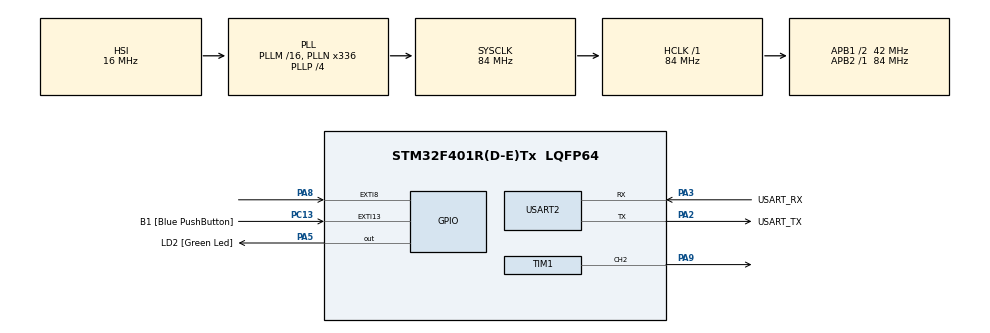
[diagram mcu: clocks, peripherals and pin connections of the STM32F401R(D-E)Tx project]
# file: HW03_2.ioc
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Mcu.Family=STM32F4
Mcu.Name=STM32F401R(D-E)Tx
Mcu.Package=LQFP64
NVIC.EXTI9_5_IRQn=true\:0\:0\:false\:false\:true\:true\:true\:true
NVIC.PriorityGroup=NVIC_PRIORITYGROUP_4
NVIC.TIM2_IRQn=true\:1\:0\:true\:false\:true\:true\:true\:true
PA13.GPIO_Label=TMS
PA13.Mode=Trace_Asynchronous_SW
PA13.Signal=SYS_JTMS-SWDIO
PA14.GPIO_Label=TCK
PA14.Mode=Trace_Asynchronous_SW
PA14.Signal=SYS_JTCK-SWCLK
PA2.GPIO_Label=USART_TX
PA2.GPIO_Mode=GPIO_MODE_AF_PP
PA2.GPIO_PuPd=GPIO_NOPULL
PA2.GPIO_Speed=GPIO_SPEED_FREQ_LOW
PA2.Mode=Asynchronous
PA2.Signal=USART2_TX
PA3.GPIO_Label=USART_RX
PA3.GPIO_Mode=GPIO_MODE_AF_PP
PA3.GPIO_PuPd=GPIO_NOPULL
PA3.GPIO_Speed=GPIO_SPEED_FREQ_LOW
PA3.Mode=Asynchronous
PA3.Signal=USART2_RX
PA5.GPIO_Label=LD2 [Green Led]
PA5.GPIO_Mode=GPIO_MODE_OUTPUT_PP
PA5.GPIO_PuPd=GPIO_NOPULL
PA5.GPIO_Speed=GPIO_SPEED_FREQ_LOW
PA5.Signal=GPIO_Output
PA8.Signal=GPXTI8
PA9.Signal=S_TIM1_CH2
PB3.GPIO_Label=SWO
PB3.Mode=Trace_Asynchronous_SW
PB3.Signal=SYS_JTDO-SWO
PC13-ANTI_TAMP.GPIO_Label=B1 [Blue PushButton]
PC13-ANTI_TAMP.GPIO_ModeDefaultEXTI=GPIO_MODE_IT_FALLING
PC13-ANTI_TAMP.GPIO_PuPd=GPIO_NOPULL
PC13-ANTI_TAMP.Signal=GPXTI13
PC14-OSC32_IN.Mode=LSE-External-Oscillator
PC14-OSC32_IN.Signal=RCC_OSC32_IN
PC15-OSC32_OUT.Mode=LSE-External-Oscillator
PC15-OSC32_OUT.Signal=RCC_OSC32_OUT
PH0\ -\ OSC_IN.Mode=HSE-External-Clock-Source
PH0\ -\ OSC_IN.Signal=RCC_OSC_IN
PH1\ -\ OSC_OUT.Mode=HSE-External-Clock-Source
PH1\ -\ OSC_OUT.Signal=RCC_OSC_OUT
ProjectManager.HeapSize=0x200
ProjectManager.StackSize=0x400
ProjectManager.TargetToolchain=STM32CubeIDE
RCC.48MHZClocksFreq_Value=48000000
RCC.AHBFreq_Value=84000000
RCC.APB1CLKDivider=RCC_HCLK_DIV2
RCC.APB1Freq_Value=42000000
RCC.APB1TimFreq_Value=84000000
RCC.APB2Freq_Value=84000000
RCC.APB2TimFreq_Value=84000000
RCC.CortexFreq_Value=84000000
RCC.HCLKFreq_Value=84000000
RCC.HSE_VALUE=8000000
RCC.HSI_VALUE=16000000
RCC.PLLN=336
RCC.PLLP=RCC_PLLP_DIV4
RCC.PLLQ=7
RCC.SYSCLKFreq_VALUE=84000000
RCC.SYSCLKSource=RCC_SYSCLKSOURCE_PLLCLK
RCC.VCOOutputFreq_Value=336000000
SH.S_TIM1_CH2.0=TIM1_CH2,PWM Generation2 CH2
TIM1.Channel-PWM\ Generation2\ CH2=TIM_CHANNEL_2
TIM1.Period=1909
TIM1.Prescaler=99
TIM2.Period=209999
TIM2.Prescaler=99
USART2.VirtualMode=VM_ASYNC
VP_TIM1_VS_ClockSourceINT.Mode=Internal
VP_TIM2_VS_ClockSourceINT.Mode=Internal
board=NUCLEO-F401RE

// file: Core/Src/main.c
/* USER CODE BEGIN Header */
/**
  ******************************************************************************
  * @file           : main.c
  * @brief          : Main program body
  ******************************************************************************
  * @attention
  *
  * Copyright (c) 2026 STMicroelectronics.
  * All rights reserved.
  *
  * This software is licensed under terms that can be found in the LICENSE file
  * in the root directory of this software component.
  * If no LICENSE file comes with this software, it is provided AS-IS.
  *
  ******************************************************************************
  */
/* USER CODE END Header */
#include "main.h"

/* USER CODE BEGIN PTD */
// Definiamo una struttura "Note"
typedef struct {
    int Period;
    int Duration;
} Note;
/* USER CODE END PTD */

/* USER CODE BEGIN PD */
#define PeriodFA4 2405   // F4 = 349.23 Hz
#define PeriodLA4 1909   // A4 = 440.00 Hz
#define PeriodSI4 1701   // B4 = 493.88 Hz
#define PeriodDO5 1605   // C5 = 523.25 Hz
#define PeriodRE5 1430   // D5 = 587.33 Hz
#define PeriodMI5 1274   // E5 = 659.25 Hz

#define PORT_MCO GPIOA
#define PIN_MCO GPIO_PIN_8

#define DEBOUNCE_MS 500

/* USER CODE END PD */

TIM_HandleTypeDef htim1;
TIM_HandleTypeDef htim2;

UART_HandleTypeDef huart2;

/* USER CODE BEGIN PV */
int i=0;
int ticks=0;
uint32_t duration_note=5; // valore a caso
uint32_t last_end_tick = 0;
volatile uint8_t playing = 0; // flag

Note Song[] = {
		{PeriodMI5, 4},
		{PeriodLA4, 1},
		{PeriodSI4, 1},
		{PeriodDO5, 1},
		{PeriodRE5, 1},
		{PeriodMI5, 3},
		{PeriodDO5, 1},
		{PeriodMI5, 3},
		{PeriodDO5, 1},
		{PeriodMI5, 3},
		{PeriodLA4, 1},
		{PeriodDO5, 1},
		{PeriodLA4, 1},
		{PeriodFA4, 1},
		{PeriodDO5, 1},
		{PeriodLA4, 4}
};

int song_duration=sizeof(Song) / sizeof(Song[0]);

// DICHIARAZIONE GLOBALE PER LA CONFIGURAZIONE PWM (CRITICO!)
TIM_OC_InitTypeDef sConfigOC = {0};
/* USER CODE END PV */

void SystemClock_Config(void);
static void MX_GPIO_Init(void);
static void MX_USART2_UART_Init(void);
static void MX_TIM1_Init(void);
static void MX_TIM2_Init(void);
/* USER CODE BEGIN PFP */
void play_note(uint32_t Period, uint32_t Duration);
/* USER CODE END PFP */

/* USER CODE BEGIN 0 */
void HAL_GPIO_EXTI_Callback(uint16_t GPIO_Pin)
{
    if (GPIO_Pin == PIN_MCO && !playing && (HAL_GetTick() - last_end_tick > DEBOUNCE_MS))
    {
        HAL_GPIO_TogglePin(GPIOA, GPIO_PIN_5);
        playing = 1;
        i = 0;
        play_note(Song[i].Period, Song[i].Duration);
        HAL_TIM_Base_Start_IT(&htim2);
    }
}

void HAL_TIM_PeriodElapsedCallback(TIM_HandleTypeDef *htim)
{
	if(htim->Instance == TIM2){
		ticks+=1;
		if(ticks==duration_note){
			i+=1;
			if(i==song_duration){
				HAL_TIM_PWM_Stop(&htim1, TIM_CHANNEL_2);
				HAL_TIM_Base_Stop_IT(&htim2);
				playing = 0;
				last_end_tick = HAL_GetTick();
			}else{
				play_note(Song[i].Period, Song[i].Duration);
			}
		}
	}
}

void play_note(uint32_t Period, uint32_t Duration){
    duration_note=Duration;
    ticks=0;

	// Aggiorna il Periodo (frequenza) nel registro del Timer
    // L'unica variabile da ri-inizializzare è quella di base (più veloce di HAL_TIM_Base_Init)
    // Usiamo una macro veloce che accede direttamente al registro
    __HAL_TIM_SET_AUTORELOAD(&htim1, Period - 1);

    // Aggiorna il Pulse (Duty Cycle) nella struct sConfigOC
    sConfigOC.OCMode = TIM_OCMODE_PWM1; // Modalità PWM
    sConfigOC.Pulse = Period / 2;       // Duty cycle al 50%
    sConfigOC.OCPolarity = TIM_OCPOLARITY_HIGH;
    sConfigOC.OCFastMode = TIM_OCFAST_DISABLE;

    // Applica la nuova configurazione del canale
    if (HAL_TIM_PWM_ConfigChannel(&htim1, &sConfigOC, TIM_CHANNEL_2) != HAL_OK)
    {
        Error_Handler();
    }

    // Fai suonare nota
	HAL_TIM_PWM_Start(&htim1, TIM_CHANNEL_2);
}

/* USER CODE END 0 */

int main(void)
{

  /* MCU Configuration--------------------------------------------------------*/

  /* Reset of all peripherals, Initializes the Flash interface and the Systick. */
  HAL_Init();

  /* Configure the system clock */
  SystemClock_Config();

  /* Initialize all configured peripherals */
  MX_GPIO_Init();
  MX_USART2_UART_Init();
  MX_TIM1_Init();
  MX_TIM2_Init();

  /* Infinite loop */
  while (1)
  {

  }
}

void SystemClock_Config(void)
{
  RCC_OscInitTypeDef RCC_OscInitStruct = {0};
  RCC_ClkInitTypeDef RCC_ClkInitStruct = {0};

  /** Configure the main internal regulator output voltage
  */
  __HAL_RCC_PWR_CLK_ENABLE();
  __HAL_PWR_VOLTAGESCALING_CONFIG(PWR_REGULATOR_VOLTAGE_SCALE2);

  /** Initializes the RCC Oscillators according to the specified parameters
  * in the RCC_OscInitTypeDef structure.
  */
  RCC_OscInitStruct.OscillatorType = RCC_OSCILLATORTYPE_HSI;
  RCC_OscInitStruct.HSIState = RCC_HSI_ON;
  RCC_OscInitStruct.HSICalibrationValue = RCC_HSICALIBRATION_DEFAULT;
  RCC_OscInitStruct.PLL.PLLState = RCC_PLL_ON;
  RCC_OscInitStruct.PLL.PLLSource = RCC_PLLSOURCE_HSI;
  RCC_OscInitStruct.PLL.PLLM = 16;
  RCC_OscInitStruct.PLL.PLLN = 336;
  RCC_OscInitStruct.PLL.PLLP = RCC_PLLP_DIV4;
  RCC_OscInitStruct.PLL.PLLQ = 7;
  if (HAL_RCC_OscConfig(&RCC_OscInitStruct) != HAL_OK)
  {
    Error_Handler();
  }

  /** Initializes the CPU, AHB and APB buses clocks
  */
  RCC_ClkInitStruct.ClockType = RCC_CLOCKTYPE_HCLK|RCC_CLOCKTYPE_SYSCLK
                              |RCC_CLOCKTYPE_PCLK1|RCC_CLOCKTYPE_PCLK2;
  RCC_ClkInitStruct.SYSCLKSource = RCC_SYSCLKSOURCE_PLLCLK;
  RCC_ClkInitStruct.AHBCLKDivider = RCC_SYSCLK_DIV1;
  RCC_ClkInitStruct.APB1CLKDivider = RCC_HCLK_DIV2;
  RCC_ClkInitStruct.APB2CLKDivider = RCC_HCLK_DIV1;

  if (HAL_RCC_ClockConfig(&RCC_ClkInitStruct, FLASH_LATENCY_2) != HAL_OK)
  {
    Error_Handler();
  }
}

static void MX_TIM1_Init(void)
{

  TIM_ClockConfigTypeDef sClockSourceConfig = {0};
  TIM_MasterConfigTypeDef sMasterConfig = {0};
  TIM_OC_InitTypeDef sConfigOC = {0};
  TIM_BreakDeadTimeConfigTypeDef sBreakDeadTimeConfig = {0};

  htim1.Instance = TIM1;
  htim1.Init.Prescaler = 99;
  htim1.Init.CounterMode = TIM_COUNTERMODE_UP;
  htim1.Init.Period = 1909;
  htim1.Init.ClockDivision = TIM_CLOCKDIVISION_DIV1;
  htim1.Init.RepetitionCounter = 0;
  htim1.Init.AutoReloadPreload = TIM_AUTORELOAD_PRELOAD_DISABLE;
  if (HAL_TIM_Base_Init(&htim1) != HAL_OK)
  {
    Error_Handler();
  }
  sClockSourceConfig.ClockSource = TIM_CLOCKSOURCE_INTERNAL;
  if (HAL_TIM_ConfigClockSource(&htim1, &sClockSourceConfig) != HAL_OK)
  {
    Error_Handler();
  }
  if (HAL_TIM_PWM_Init(&htim1) != HAL_OK)
  {
    Error_Handler();
  }
  sMasterConfig.MasterOutputTrigger = TIM_TRGO_RESET;
  sMasterConfig.MasterSlaveMode = TIM_MASTERSLAVEMODE_DISABLE;
  if (HAL_TIMEx_MasterConfigSynchronization(&htim1, &sMasterConfig) != HAL_OK)
  {
    Error_Handler();
  }
  sConfigOC.OCMode = TIM_OCMODE_PWM1;
  sConfigOC.Pulse = 0;
  sConfigOC.OCPolarity = TIM_OCPOLARITY_HIGH;
  sConfigOC.OCNPolarity = TIM_OCNPOLARITY_HIGH;
  sConfigOC.OCFastMode = TIM_OCFAST_DISABLE;
  sConfigOC.OCIdleState = TIM_OCIDLESTATE_RESET;
  sConfigOC.OCNIdleState = TIM_OCNIDLESTATE_RESET;
  if (HAL_TIM_PWM_ConfigChannel(&htim1, &sConfigOC, TIM_CHANNEL_2) != HAL_OK)
  {
    Error_Handler();
  }
  sBreakDeadTimeConfig.OffStateRunMode = TIM_OSSR_DISABLE;
  sBreakDeadTimeConfig.OffStateIDLEMode = TIM_OSSI_DISABLE;
  sBreakDeadTimeConfig.LockLevel = TIM_LOCKLEVEL_OFF;
  sBreakDeadTimeConfig.DeadTime = 0;
  sBreakDeadTimeConfig.BreakState = TIM_BREAK_DISABLE;
  sBreakDeadTimeConfig.BreakPolarity = TIM_BREAKPOLARITY_HIGH;
  sBreakDeadTimeConfig.AutomaticOutput = TIM_AUTOMATICOUTPUT_DISABLE;
  if (HAL_TIMEx_ConfigBreakDeadTime(&htim1, &sBreakDeadTimeConfig) != HAL_OK)
  {
    Error_Handler();
  }
  HAL_TIM_MspPostInit(&htim1);

}

static void MX_TIM2_Init(void)
{

  TIM_ClockConfigTypeDef sClockSourceConfig = {0};
  TIM_MasterConfigTypeDef sMasterConfig = {0};

  htim2.Instance = TIM2;
  htim2.Init.Prescaler = 99;
  htim2.Init.CounterMode = TIM_COUNTERMODE_UP;
  htim2.Init.Period = 209999;
  htim2.Init.ClockDivision = TIM_CLOCKDIVISION_DIV1;
  htim2.Init.AutoReloadPreload = TIM_AUTORELOAD_PRELOAD_DISABLE;
  if (HAL_TIM_Base_Init(&htim2) != HAL_OK)
  {
    Error_Handler();
  }
  sClockSourceConfig.ClockSource = TIM_CLOCKSOURCE_INTERNAL;
  if (HAL_TIM_ConfigClockSource(&htim2, &sClockSourceConfig) != HAL_OK)
  {
    Error_Handler();
  }
  sMasterConfig.MasterOutputTrigger = TIM_TRGO_RESET;
  sMasterConfig.MasterSlaveMode = TIM_MASTERSLAVEMODE_DISABLE;
  if (HAL_TIMEx_MasterConfigSynchronization(&htim2, &sMasterConfig) != HAL_OK)
  {
    Error_Handler();
  }

}

static void MX_USART2_UART_Init(void)
{

  huart2.Instance = USART2;
  huart2.Init.BaudRate = 115200;
  huart2.Init.WordLength = UART_WORDLENGTH_8B;
  huart2.Init.StopBits = UART_STOPBITS_1;
  huart2.Init.Parity = UART_PARITY_NONE;
  huart2.Init.Mode = UART_MODE_TX_RX;
  huart2.Init.HwFlowCtl = UART_HWCONTROL_NONE;
  huart2.Init.OverSampling = UART_OVERSAMPLING_16;
  if (HAL_UART_Init(&huart2) != HAL_OK)
  {
    Error_Handler();
  }

}

static void MX_GPIO_Init(void)
{
  GPIO_InitTypeDef GPIO_InitStruct = {0};

  /* GPIO Ports Clock Enable */
  __HAL_RCC_GPIOC_CLK_ENABLE();
  __HAL_RCC_GPIOH_CLK_ENABLE();
  __HAL_RCC_GPIOA_CLK_ENABLE();
  __HAL_RCC_GPIOB_CLK_ENABLE();

  /*Configure GPIO pin Output Level */
  HAL_GPIO_WritePin(LD2_GPIO_Port, LD2_Pin, GPIO_PIN_RESET);

  /*Configure GPIO pin : B1_Pin */
  GPIO_InitStruct.Pin = B1_Pin;
  GPIO_InitStruct.Mode = GPIO_MODE_IT_FALLING;
  GPIO_InitStruct.Pull = GPIO_NOPULL;
  HAL_GPIO_Init(B1_GPIO_Port, &GPIO_InitStruct);

  /*Configure GPIO pin : LD2_Pin */
  GPIO_InitStruct.Pin = LD2_Pin;
  GPIO_InitStruct.Mode = GPIO_MODE_OUTPUT_PP;
  GPIO_InitStruct.Pull = GPIO_NOPULL;
  GPIO_InitStruct.Speed = GPIO_SPEED_FREQ_LOW;
  HAL_GPIO_Init(LD2_GPIO_Port, &GPIO_InitStruct);

  /*Configure GPIO pin : PA8 */
  GPIO_InitStruct.Pin = GPIO_PIN_8;
  GPIO_InitStruct.Mode = GPIO_MODE_IT_RISING;
  GPIO_InitStruct.Pull = GPIO_NOPULL;
  HAL_GPIO_Init(GPIOA, &GPIO_InitStruct);

  /* EXTI interrupt init*/
  HAL_NVIC_SetPriority(EXTI9_5_IRQn, 0, 0);
  HAL_NVIC_EnableIRQ(EXTI9_5_IRQn);

}

void Error_Handler(void)
{
  __disable_irq();
  while (1)
  {
  }
}
